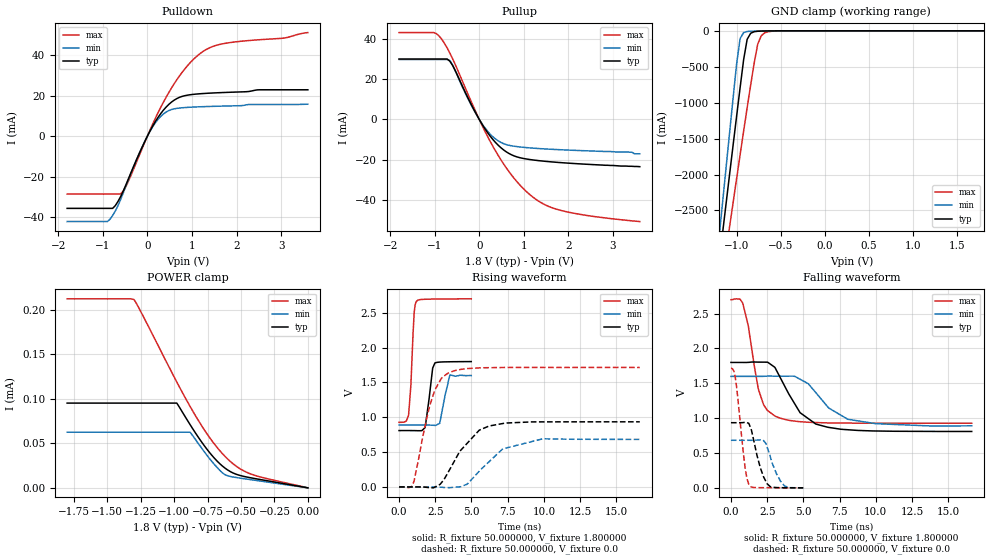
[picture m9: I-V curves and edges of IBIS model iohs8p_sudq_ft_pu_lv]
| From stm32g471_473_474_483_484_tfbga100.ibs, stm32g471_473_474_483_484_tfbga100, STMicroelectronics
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|   Model iohs8p_sudq_ft_pu_lv
[Model]  iohs8p_sudq_ft_pu_lv
Model_type I/O
Polarity   Non-Inverting
Enable   Active-Low
Vinl =   0.540000V
Vinh =   1.260000V
Vmeas =  0.900000V
Cref =   40.000000pF
Rref =   100.000000M
Vref =   0.0V
C_comp   1.984800pF   1.899400pF   2.077500pF
[Temperature Range]   25.000000   -40.000000   0.125000k
[Pullup Reference]   1.800000V   1.600000V   2.700000V
[Pulldown Reference]   0.0V   0.0V   0.0V
[POWER Clamp Reference]   1.800000V   1.600000V   2.700000V
[GND Clamp Reference]   0.0V   0.0V   0.0V
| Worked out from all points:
|   slope of the pulldown table from 0 to 0.27 V, typ, clamps not added: 26.4 ohm
|   slope of the pullup table from 0 to 0.27 V, typ, clamps not added: 30.1 ohm
|   GND clamp passes 1 mA (typ) near -0.61 V on its own axis
|   rising waveform, R_fixture 50.000000, V_fixture 1.800000: 20-80 % time 358ps typ, 426ps min, 253ps max; typ from 0.81 V to 1.8 V
|   rising waveform, R_fixture 50.000000, V_fixture 0.0: 20-80 % time 1.91ns typ, 2.03ns min, 1.14ns max; typ from 0.001 V to 0.935 V
|   falling waveform, R_fixture 50.000000, V_fixture 1.800000: 20-80 % time 1.89ns typ, 2.19ns min, 935ps max; typ from 1.8 V to 0.81 V
|   falling waveform, R_fixture 50.000000, V_fixture 0.0: 20-80 % time 700ps typ, 760ps min, 516ps max; typ from 0.935 V to 0.001 V
[Pulldown]
|Voltage   I(typ)   I(min)   I(max)
-1.8V     -35.64mA   -42.15mA   -28.59mA
-900mV    -35.64mA   -42.15mA   -28.59mA
-780mV    -35.64mA   -39.2mA    -28.59mA
-600mV    -29.83mA   -31.3mA    -28.52mA
-420mV    -20.8mA    -21.07mA   -21.98mA
60mV      2.604mA    2.459mA    3.062mA
240mV     9.303mA    8.31mA     11.61mA
480mV     15.67mA    12.64mA    21.52mA
720mV     19.18mA    13.9mA     29.74mA
960mV     20.46mA    14.3mA     36.27mA
1.44V     21.29mA    14.7mA     44.06mA
3.6V      22.91mA    15.79mA    51.15mA
[Pullup]
|Voltage   I(typ)   I(min)   I(max)
-1.8V     29.96mA    29.74mA    43.07mA
-1.02V    29.96mA    29.74mA    43.07mA
-900mV    29.96mA    29.74mA    41.33mA
-660mV    28.86mA    29.2mA     32.89mA
-60mV     2.392mA    2.26mA     2.893mA
300mV     -9.801mA   -8.48mA    -13.12mA
480mV     -13.91mA   -11.33mA   -19.82mA
720mV     -17.48mA   -13.04mA   -27.45mA
1.2V      -20.05mA   -14.2mA    -38.43mA
1.5V      -20.78mA   -14.63mA   -42.54mA
1.92V     -21.53mA   -15.1mA    -45.55mA
3.6V      -23.4mA    -17mA      -50.6mA
[GND_clamp]
|Voltage   I(typ)   I(min)   I(max)
-1.8V     -9.477A    -9.805A    -9.016A
-1.2V     -3.243A    -2.9A      -3.759A
-1.16V    -2.83A     -2.409A    -3.417A
-1.12V    -2.418A    -1.919A    -3.076A
-1.08V    -2.008A    -1.431A    -2.736A
-1V       -1.194A    -466mA     -2.061A
-960mV    -792.8mA   -108.7mA   -1.727A
-920mV    -402mA     -24.35mA   -1.396A
-880mV    -117.8mA   -9.188mA   -1.071A
-760mV    -5.896mA   -2.88mA    -183.8mA
-680mV    -2.395mA   -1.099mA   -26.61mA
1.8V      0A         0A         0A
[POWER_clamp]
|Voltage   I(typ)   I(min)   I(max)
-1.8V     95.27uA    62.52uA    212.4uA
-1.3V     95.27uA    62.52uA    211.7uA
-1.24V    95.27uA    62.52uA    195.4uA
-980mV    95.27uA    62.52uA    119uA
-880mV    70.93uA    62.52uA    91.35uA
-740mV    40.61uA    33.79uA    57.65uA
-640mV    24.64uA    16.99uA    38.63uA
-600mV    20.11uA    13.6uA     32.43uA
-540mV    15.51uA    11.72uA    24.8uA
-440mV    11.66uA    9.491uA    16.35uA
-340mV    8.934uA    7.326uA    11.65uA
0V        0A         0A         0A
[Ramp]
| variable   typ   min   max
dV/dt_r  0.56084/1.91158n   0.40896/2.01526n   1.02735/1.14227n
dV/dt_f  0.59411/1.89033n   0.42465/2.16707n   1.06315/0.93341n
R_load = 50.000000
[Rising Waveform]
R_fixture= 50.000000
V_fixture= 1.800000
V_fixture_min= 1.600000
V_fixture_max= 2.700000
|time   V(typ)   V(min)   V(max)
0s        809.8mV    890.3mV    927.8mV
660.7ps   809.8mV    890.3mV    1.032V
820.8ps   809.7mV    890.3mV    1.475V
1.051ns   809.4mV    890.3mV    2.513V
1.211ns   808.3mV    890.3mV    2.666V
1.802ns   853.5mV    889.7mV    2.694V
2.472ns   1.778V     884.3mV    2.697V
2.813ns   1.793V     919mV      2.698V
3.514ns   1.797V     1.609V     2.699V
4.985ns   1.8V       1.6V       2.7V
[Rising Waveform]
R_fixture= 50.000000
V_fixture= 0.0
V_fixture_min= 0.0
V_fixture_max= 0.0
|time   V(typ)   V(min)   V(max)
0s        727.9uV    547.5uV    1.306mV
1.001ns   745.7uV    546.2uV    64.27mV
2.135ns   -10.56mV   608.8uV    1.177V
2.903ns   55.52mV    -2.878mV   1.552V
3.403ns   216.1mV    -9.072mV   1.635V
4.705ns   627.7mV    41.44mV    1.699V
6.206ns   874.8mV    361mV      1.712V
7.174ns   911.4mV    547.9mV    1.715V
9.91ns    934.5mV    691.1mV    1.716V
16.62ns   935.3mV    683.1mV    1.716V
[Falling Waveform]
R_fixture= 50.000000
V_fixture= 1.800000
V_fixture_min= 1.600000
V_fixture_max= 2.700000
|time   V(typ)   V(min)   V(max)
0s        1.8V       1.6V       2.7V
800.8ps   1.8V       1.6V       2.656V
1.201ns   1.801V     1.6V       2.32V
1.902ns   1.805V     1.6V       1.411V
2.269ns   1.804V     1.601V     1.188V
3.07ns    1.715V     1.603V     1.028V
4.771ns   1.079V     1.559V     949.9mV
5.873ns   915mV      1.363V     937.7mV
8.075ns   834.2mV    984mV      929.8mV
16.62ns   809.8mV    890.3mV    927.8mV
[Falling Waveform]
R_fixture= 50.000000
V_fixture= 0.0
V_fixture_min= 0.0
V_fixture_max= 0.0
|time   V(typ)   V(min)   V(max)
0s        935.3mV    683.1mV    1.716V
310.3ps   935.2mV    683.1mV    1.573V
981ps     940.8mV    683mV      285.7mV
1.221ns   926.9mV    682.9mV    58.77mV
1.411ns   831.5mV    682.7mV    13.79mV
2.032ns   286.1mV    688.7mV    3.432mV
2.503ns   58.17mV    580.9mV    2.575mV
3.143ns   4.79mV     202.1mV    2.016mV
3.684ns   2.131mV    31.31mV    1.72mV
4.985ns   727.9uV    547.5uV    1.306mV
